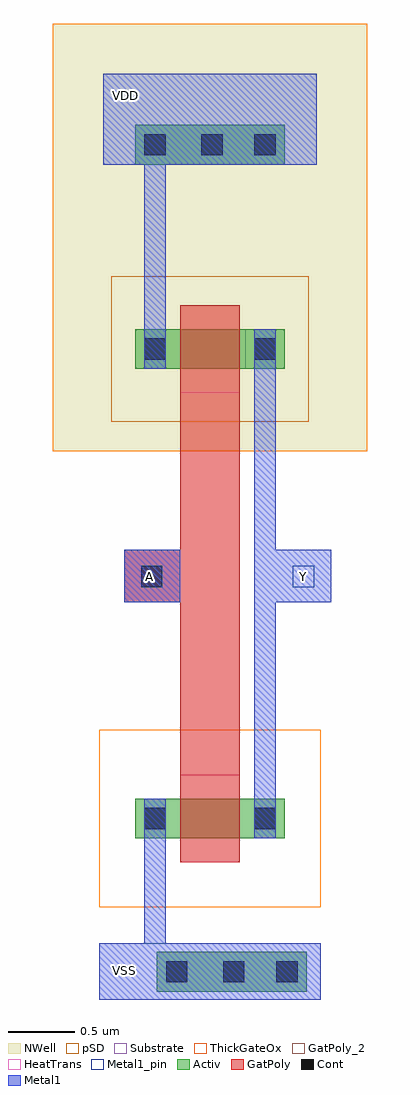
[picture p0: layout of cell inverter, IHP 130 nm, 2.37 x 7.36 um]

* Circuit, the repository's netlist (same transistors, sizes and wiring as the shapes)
* Extracted by KLayout with SG13G2 LVS runset on : 30/11/2025 16:14

.SUBCKT inverter VSS VDD Y A
M$1 VSS A Y VSS sg13_hv_nmos L=0.45u W=0.3u AS=0.102p AD=0.102p PS=1.28u
+ PD=1.28u
M$2 VDD A Y VDD sg13_hv_pmos L=0.45u W=0.3u AS=0.102p AD=0.102p PS=1.28u
+ PD=1.28u
.ENDS inverter

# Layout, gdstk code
import gdstk
lib = gdstk.Library(unit=1e-6, precision=5e-09)
def R(c, l, rs):  # rectangles x0, y0, x1, y1
    for r in rs: c.add(gdstk.rectangle(r[:2], r[2:], *l))
Activ = (1, 0)
GatPoly = (5, 0)
GatPoly_2 = (5, 2)
Cont = (6, 0)
Metal1 = (8, 0)
Metal1_pin = (8, 2)
pSD = (14, 0)
NWell = (31, 0)
Substrate = (40, 0)
ThickGateOx = (44, 0)
HeatTrans = (51, 0)

nmoshv_1 = lib.new_cell('nmosHV$1')
R(nmoshv_1, Activ, [(0,0,0.3,0.3), (0,0,1.13,0.3), (0.83,0,1.13,0.3)])
R(nmoshv_1, GatPoly, [(0.34,-0.18,0.79,0.48)])
R(nmoshv_1, GatPoly_2, [(0.34,-0.18,0.79,0.48)])
R(nmoshv_1, Cont, [(0.07,0.07,0.23,0.23), (0.9,0.07,1.06,0.23)])
R(nmoshv_1, Metal1, [(0.07,0,0.23,0.3), (0.9,0,1.06,0.3)])
R(nmoshv_1, Metal1_pin, [(0.07,0,0.23,0.3), (0.9,0,1.06,0.3)])
R(nmoshv_1, ThickGateOx, [(-0.27,-0.52,1.4,0.82)])
R(nmoshv_1, HeatTrans, [(0.34,-0.18,0.79,0.48)])
nmoshv_1.add(gdstk.Label('nmosHV', (0.565,0.15), layer=63, texttype=0))
nmoshv_1.add(gdstk.Label('nmosHV', (0.565,0.15), layer=51, texttype=0))

pmoshv_1 = lib.new_cell('pmosHV$1')
R(pmoshv_1, Activ, [(0,0,0.3,0.3), (0,0,1.13,0.3), (0.83,0,1.13,0.3)])
R(pmoshv_1, GatPoly, [(0.34,-0.18,0.79,0.48)])
R(pmoshv_1, GatPoly_2, [(0.34,-0.18,0.79,0.48)])
R(pmoshv_1, Cont, [(0.07,0.07,0.23,0.23), (0.9,0.07,1.06,0.23)])
R(pmoshv_1, Metal1, [(0.07,0,0.23,0.3), (0.9,0,1.06,0.3)])
R(pmoshv_1, Metal1_pin, [(0.07,0,0.23,0.3), (0.9,0,1.06,0.3)])
R(pmoshv_1, pSD, [(-0.18,-0.4,1.31,0.7)])
R(pmoshv_1, NWell, [(-0.62,-0.62,1.75,0.92)])
R(pmoshv_1, Substrate, [(0.83,0,1.13,0.3)])
R(pmoshv_1, ThickGateOx, [(-0.62,-0.62,1.75,0.92)])
R(pmoshv_1, HeatTrans, [(0.34,-0.18,0.79,0.48)])
pmoshv_1.add(gdstk.Label('pmosHV', (0.565,0.15), layer=63, texttype=0))
pmoshv_1.add(gdstk.Label('pmos', (0.565,0.15), layer=51, texttype=0))

inverter = lib.new_cell('inverter')
R(inverter, Activ, [(2.95,1.095,4.08,1.395), (2.785,7.33,3.915,7.63)])
R(inverter, GatPoly, [(3.125,2.07,3.575,6.27), (2.705,4.03,3.125,4.425)])
R(inverter, Cont, [(3.02,1.165,3.18,1.325), (3.45,1.165,3.61,1.325), (3.85,1.165,4.01,1.325), (2.83,4.145,2.99,4.305), (2.855,7.4,3.015,7.56), (3.285,7.4,3.445,7.56), (3.685,7.4,3.845,7.56)])
R(inverter, Metal1, [(2.515,1.035,4.185,1.46), (2.855,1.46,3.015,2.25), (3.685,2.25,3.845,6.09), (2.705,4.03,3.125,4.425), (3.845,4.03,4.265,4.425), (2.855,6.09,3.015,7.33), (2.545,7.33,4.155,8.015)])
R(inverter, Metal1_pin, [(2.515,1.035,4.185,1.46), (2.83,4.145,2.99,4.305), (3.975,4.145,4.135,4.305), (2.545,7.33,4.155,8.015)])
R(inverter, pSD, [(2.515,1.035,4.185,1.46)])
R(inverter, NWell, [(2.165,6.71,4.535,8.395)])
R(inverter, ThickGateOx, [(2.165,6.71,4.535,8.395)])
inverter.add(gdstk.Reference(nmoshv_1, (2.785,2.25)))
inverter.add(gdstk.Reference(pmoshv_1, (2.785,5.79)))
inverter.add(gdstk.Label('VDD', (2.71,7.855), layer=8, texttype=25))
inverter.add(gdstk.Label('Y', (4.055,4.225), layer=8, texttype=25))
inverter.add(gdstk.Label('A', (2.895,4.225), layer=8, texttype=25))
inverter.add(gdstk.Label('VSS', (2.705,1.25), layer=8, texttype=25))

lib.write_gds('inverter.gds')
